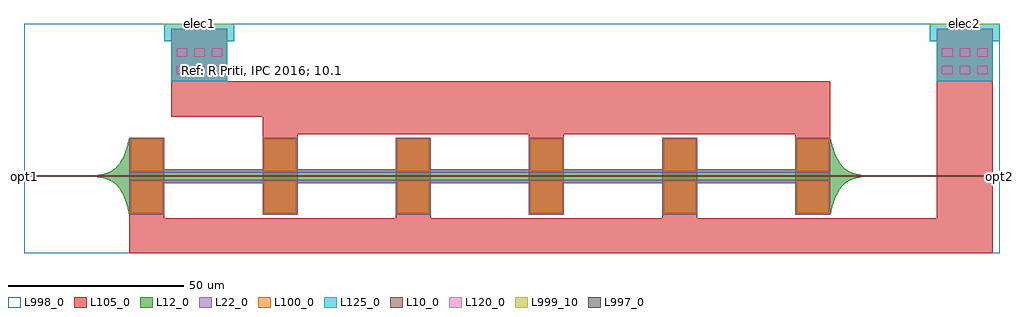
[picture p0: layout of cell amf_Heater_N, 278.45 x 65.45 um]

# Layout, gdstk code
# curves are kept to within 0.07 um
import gdstk
lib = gdstk.Library(unit=1e-6, precision=1e-09)
def R(c, l, rs):  # rectangles x0, y0, x1, y1
    for r in rs: c.add(gdstk.rectangle(r[:2], r[2:], *l))
def A(c, l, x, y, w, h, nx, ny, dx, dy):  # array of equal rectangles
    R(c, l, [(x+i*dx, y+j*dy, x+i*dx+w, y+j*dy+h) for i in range(nx) for j in range(ny)])
def P(c, l, *ps):  # polygons
    for p in ps: c.add(gdstk.Polygon(p, *l))
L10_0 = (10, 0)
L12_0 = (12, 0)
L22_0 = (22, 0)
L100_0 = (100, 0)
L105_0 = (105, 0)
L120_0 = (120, 0)
L125_0 = (125, 0)
L997_0 = (997, 0)
L998_0 = (998, 0)
L999_10 = (999, 10)

amf_heater_n = lib.new_cell('amf_Heater_N')
P(amf_heater_n, L10_0, [(0,21.75),(0,22.25),(50,22.2),(249.968,22.2),(252.775,22.201),(254.935,22.203),(278.35,22.25),(278.35,21.75),(254.935,21.797),(252.775,21.799),(249.968,21.8),(50,21.8)])
A(amf_heater_n, L12_0, 30.002, 11, 10, 10, 6, 2, 38, 12)
R(amf_heater_n, L12_0, [(30.002,20,230.002,24)])
P(amf_heater_n, L12_0, [(30.002,11),(29.202,14.017),(28.402,16.207),(27.502,17.961),(26.502,19.294),(25.302,20.327),(23.902,21.046),(22.202,21.517),(20,21.8),(20,22.2),(22.402,22.523),(24.302,23.12),(25.502,23.812),(26.602,24.816),(27.602,26.204),(28.502,28.03),(29.302,30.309),(30.002,33)],
  [(230.002,11),(230.002,33),(230.802,29.983),(231.602,27.793),(232.502,26.039),(233.502,24.706),(234.702,23.673),(236.102,22.954),(237.802,22.483),(240.002,22.2),(240.002,21.8),(237.602,21.477),(235.702,20.88),(234.502,20.188),(233.402,19.184),(232.402,17.796),(231.502,15.97),(230.702,13.691)])
A(amf_heater_n, L22_0, 30.002, 11, 10, 10, 6, 2, 38, 12)
R(amf_heater_n, L22_0, [(30.002,20,230.002,21), (30.002,23,230.002,24)])
A(amf_heater_n, L100_0, 30.402, 11.4, 9.2, 9.2, 6, 2, 38, 12)
A(amf_heater_n, L105_0, 30.002, 0, 10, 33, 3, 1, 76, 0)
A(amf_heater_n, L105_0, 68.002, 11, 10, 33, 3, 1, 76, 0)
R(amf_heater_n, L105_0, [(30.002,0,106.002,10), (106.002,0,182.002,10), (172,0,276.35,10), (260.35,0,276.35,64.005), (68.002,34,144.002,44), (144.002,34,220.002,44), (220.002,34,230.002,44), (42,39,58,64)])
A(amf_heater_n, L120_0, 43.5, 51, 3, 2.5, 3, 2, 5, 5)
A(amf_heater_n, L120_0, 261.85, 51, 3, 2.5, 3, 2, 5, 5)
R(amf_heater_n, L125_0, [(42,49,58,64), (260.35,49,276.35,64), (40,60.4,60,65.4), (258.35,60.4,278.35,65.4)])
R(amf_heater_n, L998_0, [(0,0,278.35,65.4)])
amf_heater_n.add(gdstk.FlexPath([(42,44),(230.002,44)], 10, ends="flush", simple_path=True, layer=105, datatype=0))  # L105_0
amf_heater_n.add(gdstk.FlexPath([(278.3,22),(278.4,22)], 0.5, ends="flush", simple_path=True, layer=997, datatype=0))  # L997_0
amf_heater_n.add(gdstk.FlexPath([(0.05,22),(-0.05,22)], 0.5, ends="flush", simple_path=True, layer=997, datatype=0))  # L997_0
amf_heater_n.add(gdstk.FlexPath([(50,65.35),(50,65.45)], 20, ends="flush", simple_path=True, layer=999, datatype=10))  # L999_10
amf_heater_n.add(gdstk.FlexPath([(268.35,65.35),(268.35,65.45)], 20, ends="flush", simple_path=True, layer=999, datatype=10))  # L999_10
amf_heater_n.add(gdstk.Label('Ref: R Priti, IPC 2016; 10.1109/IPCon.2016.7831082', (68,52), layer=1003, texttype=0))
amf_heater_n.add(gdstk.Label('opt2', (278.35,22), layer=997, texttype=0))
amf_heater_n.add(gdstk.Label('opt1', (0,22), layer=997, texttype=0))
amf_heater_n.add(gdstk.Label('elec1', (50,65.4), layer=999, texttype=10))
amf_heater_n.add(gdstk.Label('elec2', (268.35,65.4), layer=999, texttype=10))

lib.write_gds('amf_Heater_N.gds')
